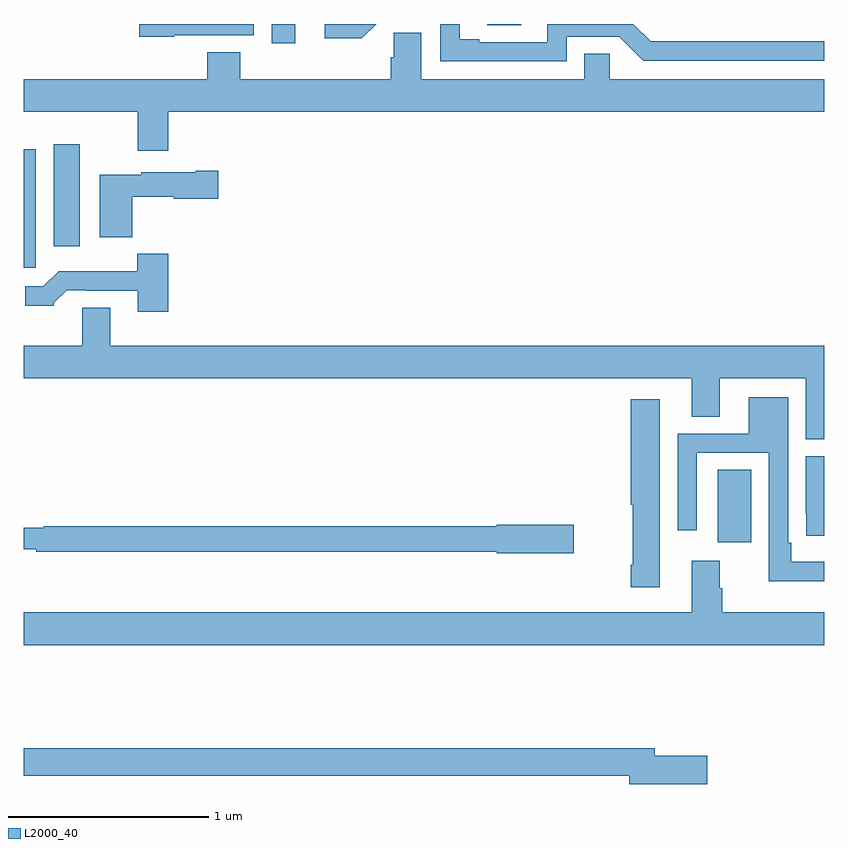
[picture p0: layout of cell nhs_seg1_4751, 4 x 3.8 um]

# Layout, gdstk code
import gdstk
lib = gdstk.Library(unit=1e-6, precision=1e-09)
def R(c, l, rs):  # rectangles x0, y0, x1, y1
    for r in rs: c.add(gdstk.rectangle(r[:2], r[2:], *l))
def P(c, l, *ps):  # polygons
    for p in ps: c.add(gdstk.Polygon(p, *l))
L2000_40 = (2000, 40)

nhs_seg1_4751 = lib.new_cell('nhs_seg1_4751')
R(nhs_seg1_4751, L2000_40, [(372.467,521.61,372.634,521.972), (369,522.981,369.061,523.573), (369.149,523.089,369.28,523.597), (370.239,524.103,370.357,524.199), (371.316,524.194,371.486,524.199)])
P(nhs_seg1_4751, L2000_40, [(369.753,524.142),(370.149,524.142),(370.149,524.199),(369.577,524.199),(369.577,524.135),(369.753,524.135)],
  [(371.712,524.136),(371.976,524.136),(372.096,524.016),(373,524.016),(373,524.112),(372.132,524.112),(372.045,524.199),(371.616,524.199),(371.616,524.109),(371.275,524.109),(371.275,524.124),(371.179,524.124),(371.179,524.199),(371.082,524.199),(371.082,524.013),(371.712,524.013)],
  [(370.761,524.199),(370.503,524.199),(370.503,524.129),(370.69,524.129)],
  [(369.722,523.76),(373,523.76),(373,523.924),(371.928,523.924),(371.928,524.051),(371.801,524.051),(371.801,523.924),(370.987,523.924),(370.987,524.156),(370.848,524.156),(370.848,524.033),(370.835,524.033),(370.835,523.924),(370.082,523.924),(370.082,524.057),(369.917,524.057),(369.917,523.924),(369,523.924),(369,523.76),(369.569,523.76),(369.569,523.566),(369.722,523.566)],
  [(369.542,523.337),(369.75,523.337),(369.75,523.325),(369.973,523.325),(369.973,523.467),(369.86,523.467),(369.86,523.459),(369.588,523.459),(369.588,523.447),(369.38,523.447),(369.38,523.133),(369.542,523.133)],
  [(369.722,523.051),(369.567,523.051),(369.567,522.964),(369.175,522.964),(369.099,522.888),(369.008,522.888),(369.008,522.791),(369.15,522.791),(369.15,522.806),(369.214,522.87),(369.313,522.87),(369.313,522.867),(369.569,522.867),(369.569,522.762),(369.722,522.762)],
  [(373,522.592),(369.433,522.592),(369.433,522.782),(369.293,522.782),(369.293,522.592),(369,522.592),(369,522.428),(372.338,522.428),(372.338,522.238),(372.478,522.238),(372.478,522.428),(372.908,522.428),(372.908,522.124),(373,522.124)],
  [(373,521.512),(372.835,521.512),(372.835,521.608),(372.819,521.608),(372.819,522.334),(372.623,522.334),(372.623,522.153),(372.267,522.153),(372.267,521.67),(372.363,521.67),(372.363,522.057),(372.723,522.057),(372.723,521.414),(373,521.414)],
  [(372.178,522.325),(372.032,522.325),(372.032,521.797),(372.044,521.797),(372.044,521.497),(372.032,521.497),(372.032,521.385),(372.178,521.385)],
  [(373,522.039),(372.908,522.039),(372.908,521.755),(372.909,521.755),(372.909,521.643),(373,521.643)],
  [(371.749,521.696),(371.364,521.696),(371.364,521.69),(369.1,521.69),(369.1,521.683),(369,521.683),(369,521.574),(369.064,521.574),(369.064,521.562),(371.364,521.562),(371.364,521.554),(371.749,521.554)],
  [(373,521.26),(372.491,521.26),(372.491,521.381),(372.478,521.381),(372.478,521.518),(372.338,521.518),(372.338,521.26),(369,521.26),(369,521.096),(373,521.096)],
  [(372.415,520.544),(372.154,520.544),(372.154,520.58),(369,520.58),(369,520.444),(372.026,520.444),(372.026,520.402),(372.415,520.402)])

lib.write_gds('nhs_seg1_4751.gds')
